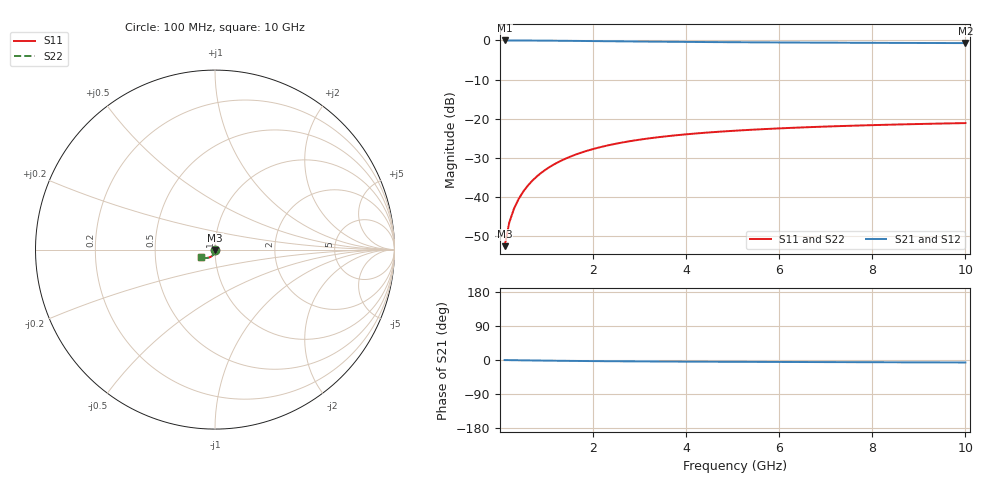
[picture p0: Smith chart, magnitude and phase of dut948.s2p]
! Touchstone file exported from HFSS 2024.1.0
!  File:  C:/UserFiles/LocalFiles/RDL_TSV_Batchsim/temp_TSV1_948_1779948798.aedt
!  Generated:  02:18:27 PM May 28, 2026
!  Design:  TSV1
!  Project:  temp_TSV1_948_1779948798
!  Setup:  Setup1
!  Solution:  Sweep
! Variables:
!  dtsv = 14.53um
!  hbump = 3um
!  htsv = 98.02um
!  lrdl = 252.1521522um
!  p = 40
!  p1 = 43.13um
!  t = 500um
!  trdl = 3um
!  wrdl = 24.89489489um
# GHz S MA R 50.000000
! Terminal data exported
! Port[1] = TSV22_T1
! Port[2] = TSV22_T2
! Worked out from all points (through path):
!   100 points, 100 MHz to 10 GHz, reference 50 ohm
!   highest |S21| = 0.00 dB at 100 MHz (marker M1); lowest = -0.7 dB at 10 GHz (marker M2)
!   lowest |S11| = -52.6 dB at 100 MHz (marker M3), VSWR 1.00, Z = 50 - j0.235 ohm
!   |S11| at or under -10 dB: start of sweep to end of sweep
!   |S22| runs from -52.6 to -21.1 dB; largest |S21 - S12| = 5.6e-15
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0.1  0.002347 -89.2  0.9998 -0.2  0.9998 -0.2  0.002347 -89.2
! Gamma 0 0 0 0
! Port Impedance 50 0 50 0
0.2  0.004696 -91.7  0.9996 -0.4  0.9996 -0.4  0.004696 -91.7
0.3  0.007044 -93.5  0.9993 -0.5  0.9993 -0.5  0.007044 -93.5
0.4  0.009379 -95.2  0.9988 -0.7  0.9988 -0.7  0.009379 -95.2
0.5  0.01169 -96.9  0.9983 -0.9  0.9983 -0.9  0.01169 -96.9
0.6  0.01398 -98.5  0.9976 -1.0  0.9976 -1.0  0.01398 -98.5
0.7  0.01623 -100.0  0.9969 -1.2  0.9969 -1.2  0.01623 -100.0
0.8  0.01844 -101.6  0.996 -1.4  0.996 -1.4  0.01844 -101.6
0.9  0.0206 -103.0  0.9951 -1.5  0.9951 -1.5  0.0206 -103.0
1.1  0.02479 -105.9  0.993 -1.8  0.993 -1.8  0.02479 -105.9
1.4  0.03067 -109.9  0.9895 -2.2  0.9895 -2.2  0.03067 -109.9
1.6  0.03431 -112.4  0.987 -2.5  0.987 -2.5  0.03431 -112.4
1.8  0.03773 -114.8  0.9843 -2.7  0.9843 -2.7  0.03773 -114.8
2.1  0.04243 -118.1  0.9803 -3.0  0.9803 -3.0  0.04243 -118.1
2.5  0.04798 -122.0  0.9751 -3.3  0.9751 -3.3  0.04798 -122.0
2.9  0.0528 -125.4  0.9701 -3.6  0.9701 -3.6  0.0528 -125.4
3.4  0.05795 -129.1  0.9643 -4.0  0.9643 -4.0  0.05795 -129.1
4.2  0.06463 -134.0  0.9563 -4.4  0.9563 -4.4  0.06463 -134.0
5.1  0.0705 -138.2  0.9488 -4.8  0.9488 -4.8  0.0705 -138.2
6.7  0.07815 -143.7  0.9386 -5.4  0.9386 -5.4  0.07815 -143.7
8.4  0.08388 -147.8  0.9308 -6.0  0.9308 -6.0  0.08388 -147.8
10  0.08787 -150.7  0.9254 -6.6  0.9254 -6.6  0.08787 -150.7
